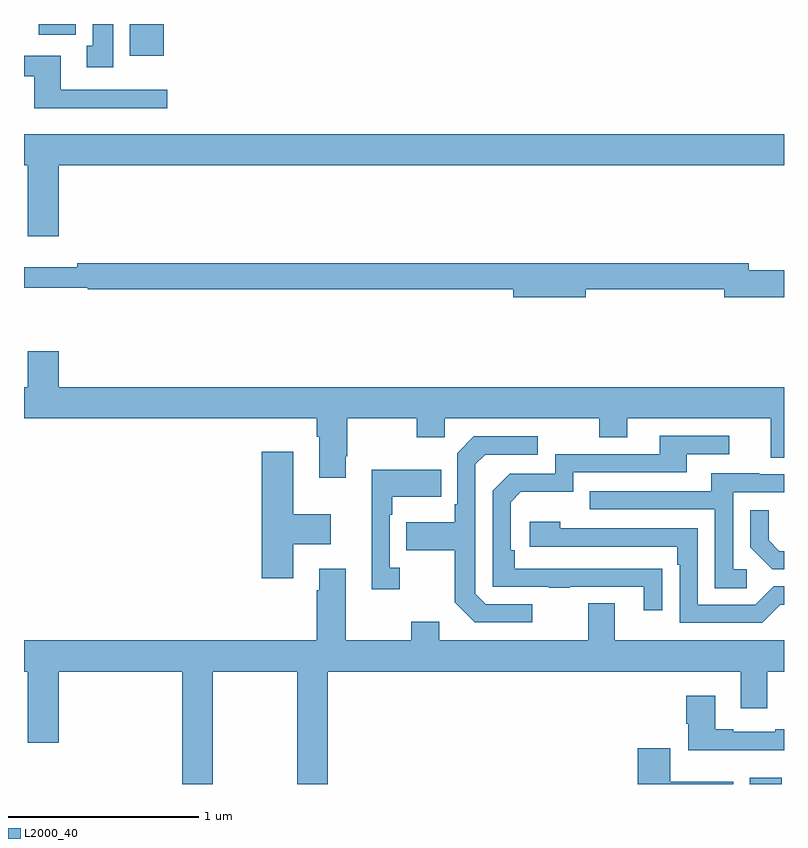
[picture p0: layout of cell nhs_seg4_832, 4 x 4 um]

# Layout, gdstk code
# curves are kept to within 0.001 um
import gdstk
lib = gdstk.Library(unit=1e-6, precision=1e-09)
def R(c, l, rs):  # rectangles x0, y0, x1, y1
    for r in rs: c.add(gdstk.rectangle(r[:2], r[2:], *l))
def P(c, l, *ps):  # polygons
    for p in ps: c.add(gdstk.Polygon(p, *l))
L2000_40 = (2000, 40)

nhs_seg4_832 = lib.new_cell('nhs_seg4_832')
R(nhs_seg4_832, L2000_40, [(156.821,790.9,156.988,790.933), (153.557,794.732,153.736,794.9), (153.077,794.844,153.273,794.9)])
P(nhs_seg4_832, L2000_40, [(153.469,794.9),(153.362,794.9),(153.362,794.785),(153.329,794.785),(153.329,794.673),(153.469,794.673)],
  [(153.754,794.553),(153.193,794.553),(153.193,794.734),(153,794.734),(153,794.625),(153.053,794.625),(153.053,794.456),(153.754,794.456)],
  [(153.184,794.156),(157,794.156),(157,794.32),(153,794.32),(153,794.156),(153.02,794.156),(153.02,793.782),(153.184,793.782)],
  [(155.956,793.504),(156.686,793.504),(156.686,793.462),(157,793.462),(157,793.604),(156.814,793.604),(156.814,793.64),(153.28,793.64),(153.28,793.621),(153,793.621),(153,793.512),(153.335,793.512),(153.335,793.504),(155.576,793.504),(155.576,793.462),(155.956,793.462)],
  [(154.693,792.625),(154.701,792.625),(154.701,792.824),(155.068,792.824),(155.068,792.725),(155.214,792.725),(155.214,792.824),(156.028,792.824),(156.028,792.725),(156.175,792.725),(156.175,792.824),(156.929,792.824),(156.929,792.616),(157,792.616),(157,792.988),(153.184,792.988),(153.184,793.177),(153.02,793.177),(153.02,792.988),(153,792.988),(153,792.824),(154.541,792.824),(154.541,792.728),(154.553,792.728),(154.553,792.513),(154.693,792.513)],
  [(156.359,792.032),(155.582,792.033),(155.582,792.13),(155.562,792.13),(155.562,792.384),(155.615,792.437),(155.892,792.437),(155.892,792.54),(156.487,792.54),(156.487,792.636),(156.712,792.636),(156.712,792.732),(156.347,792.732),(156.347,792.636),(155.796,792.636),(155.796,792.534),(155.556,792.534),(155.466,792.444),(155.466,791.937),(155.761,791.937),(155.761,791.932),(155.873,791.932),(155.873,791.937),(156.263,791.937),(156.263,791.814),(156.359,791.814)],
  [(155.674,791.847),(155.43,791.847),(155.376,791.901),(155.376,792.582),(155.427,792.633),(155.704,792.633),(155.704,792.729),(155.367,792.729),(155.28,792.642),(155.28,792.373),(155.268,792.373),(155.268,792.277),(155.011,792.277),(155.011,792.13),(155.268,792.13),(155.268,791.857),(155.373,791.751),(155.674,791.751)],
  [(154.417,792.161),(154.615,792.161),(154.615,792.319),(154.417,792.319),(154.417,792.649),(154.25,792.649),(154.25,791.982),(154.417,791.982)],
  [(154.978,792.038),(154.926,792.038),(154.926,792.317),(154.939,792.317),(154.939,792.413),(155.195,792.413),(155.195,792.553),(154.829,792.553),(154.829,791.925),(154.978,791.925)],
  [(156.805,792.03),(156.732,792.03),(156.732,792.435),(157,792.435),(157,792.531),(156.871,792.531),(156.871,792.535),(156.617,792.535),(156.617,792.441),(155.977,792.441),(155.977,792.345),(156.636,792.345),(156.636,791.929),(156.805,791.929)],
  [(157,792.126),(156.976,792.126),(156.919,792.183),(156.919,792.34),(156.822,792.34),(156.822,792.146),(156.938,792.03),(157,792.03)],
  [(156.981,791.844),(157,791.844),(157,791.94),(156.945,791.94),(156.849,791.844),(156.546,791.844),(156.546,792.246),(155.822,792.246),(155.822,792.28),(155.661,792.28),(155.661,792.15),(156.437,792.15),(156.437,792.053),(156.45,792.053),(156.45,791.748),(156.885,791.748)],
  [(153.993,791.492),(154.438,791.492),(154.438,790.9),(154.598,790.9),(154.598,791.492),(156.773,791.492),(156.773,791.298),(156.913,791.298),(156.913,791.492),(157,791.492),(157,791.656),(156.109,791.656),(156.109,791.851),(155.969,791.851),(155.969,791.656),(155.185,791.656),(155.185,791.755),(155.038,791.755),(155.038,791.656),(154.693,791.656),(154.693,792.034),(154.553,792.034),(154.553,791.921),(154.541,791.921),(154.541,791.656),(153,791.656),(153,791.492),(153.02,791.492),(153.02,791.118),(153.184,791.118),(153.184,791.492),(153.833,791.492),(153.833,790.9),(153.993,790.9)],
  [(157,791.188),(156.953,791.188),(156.953,791.175),(156.733,791.175),(156.733,791.188),(156.637,791.188),(156.637,791.365),(156.485,791.365),(156.485,791.217),(156.497,791.217),(156.497,791.078),(157,791.078)],
  [(156.733,790.912),(156.4,790.912),(156.4,791.089),(156.23,791.089),(156.23,790.9),(156.733,790.9)])

lib.write_gds('nhs_seg4_832.gds')
